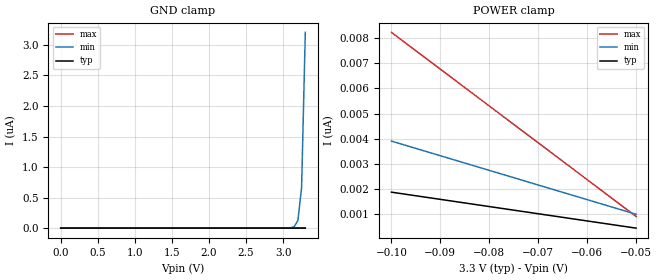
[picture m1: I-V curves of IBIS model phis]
| [Disclaimer] This IBIS model provided "as is". SAMSUNG is not
| responsible for any problems this model may cause to
| the customers. Customers may only modify the IBIS model
| to fit their particular application.
| [Copyright] Copyright 2002. SAMSUNG Electronics Co.
| All rights reserved
| From 2410x_fs.ibs, S3C2410X01, SAMSUNG Electronics Co., LTD.
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[Model] phis
 Model_type  Input
 Polarity   Non-Inverting
 Vinh= 2.00
 Vinl= 0.80
|variable   typ   min   max
 C_comp   2pF   2pF   2pF
|variable   typ   min   max
[Temperature Range]   25.0   0   70
|variable   typ   min   max
[Voltage Range]   3.3V   3.0V   3.6V
[POWER_clamp]
|  voltage   I(typ)   I(min)   I(max)
-100mV    1.884nA    3.907nA    8.215nA
-50mV     458.9pA    1.008nA    921.6pA
[GND_clamp]
|  voltage   I(typ)   I(min)   I(max)
0V        -386.2pA   -537.4pA   -925.2pA
3V        227pA      593.2pA    97.81pA
3.1V      245.4pA    3.907nA    120.4pA
3.15V     255pA      21.89nA    131.6pA
3.2V      265.5pA    124.6nA    142.9pA
3.25V     278.9pA    663.7nA    154.1pA
3.3V      304.1pA    3.206uA    165.5pA
